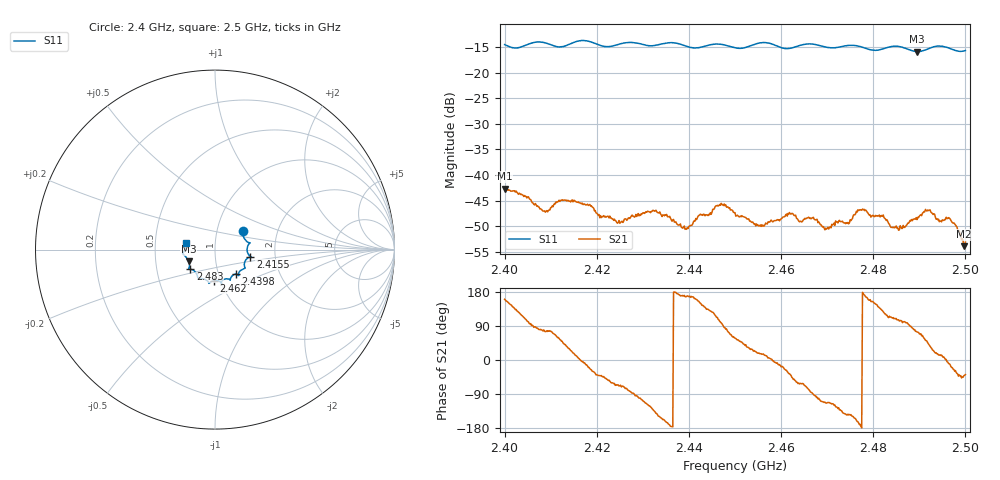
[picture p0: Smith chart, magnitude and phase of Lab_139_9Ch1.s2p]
# Hz S RI R 50
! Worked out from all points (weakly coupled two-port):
!   601 points, 2.4 GHz to 2.5 GHz, reference 50 ohm
!   highest |S21| = -42.63 dB at 2.4 GHz (marker M1); lowest = -53.9 dB at 2.4997 GHz (marker M2)
!   lowest |S11| = -15.9 dB at 2.4895 GHz (marker M3), VSWR 1.38, Z = 37 - j5.02 ohm
!   |S11| at or under -10 dB: start of sweep to end of sweep
!   S12 and S22 are empty: the file has one direction only
!   S11 on the Smith chart (normalised r, x): 2.4 GHz: 1.33, +0.29; 2.4155 GHz: 1.49, -0.12; 2.4398 GHz: 1.21, -0.34; 2.462 GHz: 0.93, -0.33; 2.483 GHz: 0.74, -0.17; 2.5 GHz: 0.72, +0.06
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2.4e9  0.1549 0.1062  -0.00696 0.0025  0 0  0 0
2.408833e9  0.1924 0.0349  0.00115 0.00419  0 0  0 0
2.4155e9  0.1971 -0.0392  0.00539 0.00112  0 0  0 0
2.416667e9  0.2016 -0.0425  0.00524 -0.000265  0 0  0 0
2.424833e9  0.1647 -0.0944  0.00131 -0.00335  0 0  0 0
2.433333e9  0.1312 -0.1338  -0.00364 -0.00228  0 0  0 0
2.439833e9  0.1151 -0.1366  -0.00295 0.000596  0 0  0 0
2.4465e9  0.085 -0.1704  -0.00138 0.00483  0 0  0 0
2.45e9  0.0645 -0.1628  0.00229 0.00363  0 0  0 0
2.455667e9  0.0373 -0.1925  0.00302 0.000909  0 0  0 0
2.462e9  -0.0052 -0.173  0.00327 -0.0026  0 0  0 0
2.466667e9  -0.0341 -0.1875  0.000258 -0.0038  0 0  0 0
2.469833e9  -0.0461 -0.1712  -0.0012 -0.00271  0 0  0 0
2.4775e9  -0.0974 -0.1491  -0.00454 -7.47e-05  0 0  0 0
2.483e9  -0.1375 -0.1095  -0.00171 0.00323  0 0  0 0
2.483333e9  -0.14 -0.1093  -0.00126 0.00314  0 0  0 0
2.485833e9  -0.1455 -0.1049  -0.000773 0.00311  0 0  0 0
2.4895e9  -0.1462 -0.0662  0.00101 0.00354  0 0  0 0
2.491833e9  -0.1665 -0.0364  0.00322 0.00323  0 0  0 0
2.496333e9  -0.1741 -0.0131  0.00379 -0.000602  0 0  0 0
2.499667e9  -0.1594 0.0331  0.00152 -0.00134  0 0  0 0
2.5e9  -0.1598 0.0389  0.00174 -0.00137  0 0  0 0
